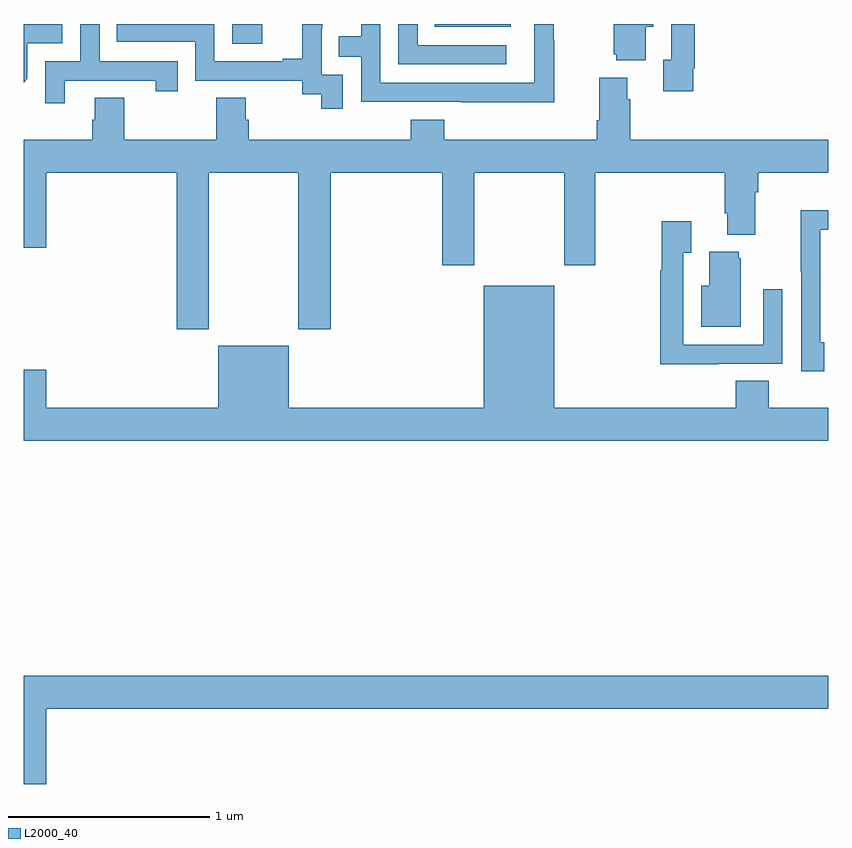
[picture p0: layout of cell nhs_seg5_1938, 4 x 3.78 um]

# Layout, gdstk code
import gdstk
lib = gdstk.Library(unit=1e-6, precision=1e-09)
def R(c, l, rs):  # rectangles x0, y0, x1, y1
    for r in rs: c.add(gdstk.rectangle(r[:2], r[2:], *l))
def P(c, l, *ps):  # polygons
    for p in ps: c.add(gdstk.Polygon(p, *l))
L2000_40 = (2000, 40)

nhs_seg5_1938 = lib.new_cell('nhs_seg5_1938')
R(nhs_seg5_1938, L2000_40, [(226.038,890.7,226.186,890.799), (227.044,890.786,227.422,890.799)])
P(nhs_seg5_1938, L2000_40, [(225.205,890.517),(225.656,890.517),(225.656,890.466),(225.767,890.466),(225.767,890.613),(225.378,890.613),(225.378,890.799),(225.282,890.799),(225.282,890.613),(225.108,890.613),(225.108,890.406),(225.205,890.406)],
  [(226.587,890.547),(226.482,890.547),(226.482,890.777),(226.484,890.777),(226.484,890.799),(226.385,890.799),(226.385,890.626),(226.289,890.626),(226.289,890.613),(225.948,890.613),(225.948,890.799),(225.463,890.799),(225.463,890.712),(225.852,890.712),(225.852,890.517),(226.386,890.517),(226.386,890.449),(226.479,890.449),(226.479,890.379),(226.587,890.379)],
  [(228.328,890.578),(228.335,890.578),(228.335,890.799),(228.219,890.799),(228.219,890.622),(228.179,890.622),(228.179,890.466),(228.328,890.466)],
  [(227.637,890.717),(227.634,890.717),(227.634,890.799),(227.538,890.799),(227.538,890.508),(226.773,890.508),(226.773,890.799),(226.677,890.799),(226.677,890.738),(226.567,890.738),(226.567,890.637),(226.677,890.637),(226.677,890.412),(227.173,890.412),(227.173,890.411),(227.637,890.411)],
  [(225.018,890.526),(225.018,890.703),(225.192,890.703),(225.192,890.799),(225,890.799),(225,890.508)],
  [(227.398,890.694),(226.959,890.694),(226.959,890.799),(226.863,890.799),(226.863,890.598),(227.398,890.598)],
  [(228.091,890.786),(228.13,890.786),(228.13,890.799),(227.933,890.799),(227.933,890.649),(227.945,890.649),(227.945,890.618),(228.091,890.618)],
  [(225.921,890.06),(226.366,890.06),(226.366,889.281),(226.526,889.281),(226.526,890.06),(227.081,890.06),(227.081,889.599),(227.241,889.599),(227.241,890.06),(227.686,890.06),(227.686,889.599),(227.841,889.599),(227.841,890.06),(228.485,890.06),(228.485,889.858),(228.497,889.858),(228.497,889.751),(228.637,889.751),(228.637,889.964),(228.65,889.964),(228.65,890.06),(229,890.06),(229,890.224),(228.014,890.224),(228.014,890.426),(228.001,890.426),(228.001,890.533),(227.861,890.533),(227.861,890.32),(227.849,890.32),(227.849,890.224),(227.09,890.224),(227.09,890.323),(226.925,890.323),(226.925,890.224),(226.118,890.224),(226.118,890.322),(226.105,890.322),(226.105,890.432),(225.958,890.432),(225.958,890.224),(225.501,890.224),(225.501,890.432),(225.353,890.432),(225.353,890.322),(225.341,890.322),(225.341,890.224),(225,890.224),(225,889.686),(225.112,889.686),(225.112,890.06),(225.761,890.06),(225.761,889.281),(225.921,889.281)],
  [(228.979,889.218),(228.96,889.218),(228.96,889.776),(229,889.776),(229,889.874),(228.862,889.874),(228.862,889.567),(228.864,889.567),(228.864,889.074),(228.979,889.074)],
  [(228.455,889.11),(228.771,889.11),(228.771,889.48),(228.675,889.48),(228.675,889.206),(228.279,889.206),(228.279,889.663),(228.319,889.663),(228.319,889.819),(228.171,889.819),(228.171,889.574),(228.163,889.574),(228.163,889.109),(228.455,889.109)],
  [(228.565,889.635),(228.554,889.635),(228.554,889.666),(228.407,889.666),(228.407,889.498),(228.368,889.498),(228.368,889.295),(228.565,889.295)],
  [(229,888.892),(228.704,888.892),(228.704,889.025),(228.539,889.025),(228.539,888.892),(227.638,888.892),(227.638,889.498),(227.288,889.498),(227.288,888.892),(226.318,888.892),(226.318,889.201),(225.968,889.201),(225.968,888.892),(225.112,888.892),(225.112,889.081),(225,889.081),(225,888.728),(229,888.728)],
  [(225.112,887.396),(229,887.396),(229,887.56),(225,887.56),(225,887.022),(225.112,887.022)])

lib.write_gds('nhs_seg5_1938.gds')
